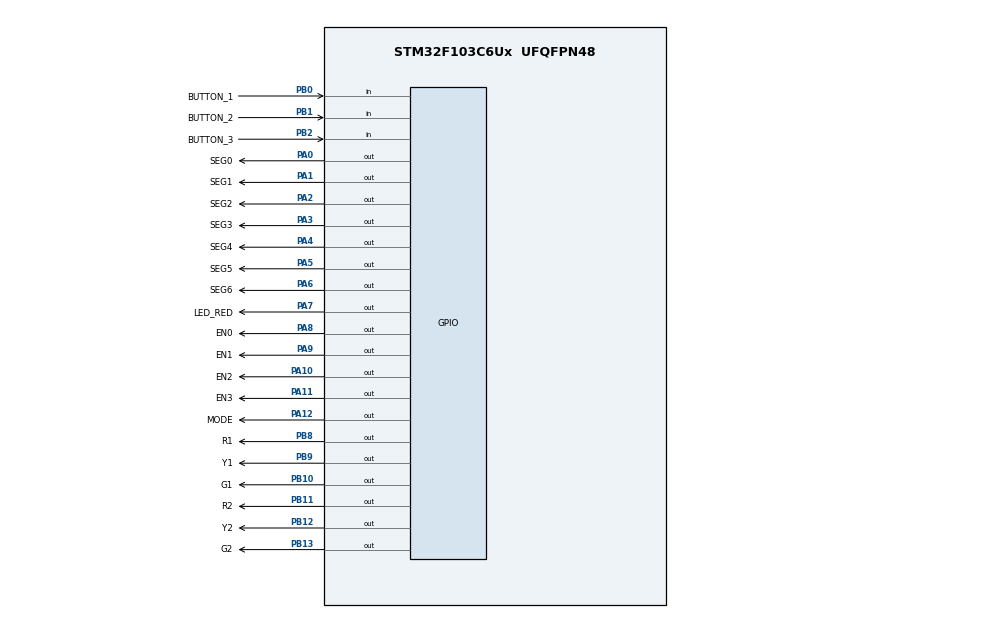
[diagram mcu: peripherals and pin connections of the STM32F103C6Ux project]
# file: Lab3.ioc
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Mcu.Family=STM32F1
Mcu.Name=STM32F103C6Ux
Mcu.Package=UFQFPN48
NVIC.PriorityGroup=NVIC_PRIORITYGROUP_4
NVIC.TIM2_IRQn=true\:0\:0\:false\:false\:true\:true\:true
PA0-WKUP.GPIO_Label=SEG0
PA0-WKUP.Signal=GPIO_Output
PA1.GPIO_Label=SEG1
PA1.Signal=GPIO_Output
PA10.GPIO_Label=EN2
PA10.Signal=GPIO_Output
PA11.GPIO_Label=EN3
PA11.Signal=GPIO_Output
PA12.GPIO_Label=MODE
PA12.Signal=GPIO_Output
PA2.GPIO_Label=SEG2
PA2.Signal=GPIO_Output
PA3.GPIO_Label=SEG3
PA3.Signal=GPIO_Output
PA4.GPIO_Label=SEG4
PA4.Signal=GPIO_Output
PA5.GPIO_Label=SEG5
PA5.Signal=GPIO_Output
PA6.GPIO_Label=SEG6
PA6.Signal=GPIO_Output
PA7.GPIO_Label=LED_RED
PA7.Signal=GPIO_Output
PA8.GPIO_Label=EN0
PA8.Signal=GPIO_Output
PA9.GPIO_Label=EN1
PA9.Signal=GPIO_Output
PB0.GPIO_Label=BUTTON_1
PB0.GPIO_PuPd=GPIO_PULLUP
PB0.Signal=GPIO_Input
PB1.GPIO_Label=BUTTON_2
PB1.GPIO_PuPd=GPIO_PULLUP
PB1.Signal=GPIO_Input
PB10.GPIO_Label=G1
PB10.Signal=GPIO_Output
PB11.GPIO_Label=R2
PB11.Signal=GPIO_Output
PB12.GPIO_Label=Y2
PB12.Signal=GPIO_Output
PB13.GPIO_Label=G2
PB13.Signal=GPIO_Output
PB2.GPIO_Label=BUTTON_3
PB2.GPIO_PuPd=GPIO_PULLUP
PB2.Signal=GPIO_Input
PB8.GPIO_Label=R1
PB8.Signal=GPIO_Output
PB9.GPIO_Label=Y1
PB9.Signal=GPIO_Output
ProjectManager.HeapSize=0x200
ProjectManager.StackSize=0x400
ProjectManager.TargetToolchain=STM32CubeIDE
RCC.APB1Freq_Value=8000000
RCC.APB2Freq_Value=8000000
TIM2.Prescaler=7999
VP_SYS_VS_ND.Mode=No_Debug
VP_TIM2_VS_ClockSourceINT.Mode=Internal
board=custom

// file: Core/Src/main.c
/* USER CODE BEGIN Header */
/**
  ******************************************************************************
  * @file           : main.c
  * @brief          : Main program body
  ******************************************************************************
  * @attention
  *
  * <h2><center>&copy; Copyright (c) 2023 STMicroelectronics.
  * All rights reserved.</center></h2>
  *
  * This software component is licensed by ST under BSD 3-Clause license,
  * the "License"; You may not use this file except in compliance with the
  * License. You may obtain a copy of the License at:
  *                        opensource.org/licenses/BSD-3-Clause
  *
  ******************************************************************************
  */
/* USER CODE END Header */
#include "main.h"

/* USER CODE BEGIN Includes */
#include "processing.h"
#include "led_display.h"
#include "input_reading.h"
#include "timer.h"
/* USER CODE END Includes */

TIM_HandleTypeDef htim2;

void SystemClock_Config(void);
static void MX_GPIO_Init(void);
static void MX_TIM2_Init(void);

int main(void)
{

  /* MCU Configuration--------------------------------------------------------*/

  /* Reset of all peripherals, Initializes the Flash interface and the Systick. */
  HAL_Init();

  /* Configure the system clock */
  SystemClock_Config();

  /* Initialize all configured peripherals */
  MX_GPIO_Init();
  MX_TIM2_Init();
  /* USER CODE BEGIN 2 */
  HAL_TIM_Base_Start_IT(&htim2);
  /* USER CODE END 2 */

  /* Infinite loop */
  /* USER CODE BEGIN WHILE */
  init_buffer();
  LedTimeDurationInit();
  setTimer0(10);
  setTimer1(10);
  setTimer2(10);
  setTimer3(10);
  while (1)
  {
	  UpdateMode();
		  if (get_timer2_flag()) {
			  LEDScanning();
			  setTimer2(1);
		  }

		  LedDispMode();
		  UpdateDurationValue();

		  if (get_timer1_flag()) {
			  HAL_GPIO_TogglePin(LED_RED_GPIO_Port, LED_RED_Pin);
			  setTimer1(500);
		  }

    /* USER CODE END WHILE */

  }
}

void SystemClock_Config(void)
{
  RCC_OscInitTypeDef RCC_OscInitStruct = {0};
  RCC_ClkInitTypeDef RCC_ClkInitStruct = {0};

  /** Initializes the RCC Oscillators according to the specified parameters
  * in the RCC_OscInitTypeDef structure.
  */
  RCC_OscInitStruct.OscillatorType = RCC_OSCILLATORTYPE_HSI;
  RCC_OscInitStruct.HSIState = RCC_HSI_ON;
  RCC_OscInitStruct.HSICalibrationValue = RCC_HSICALIBRATION_DEFAULT;
  RCC_OscInitStruct.PLL.PLLState = RCC_PLL_NONE;
  if (HAL_RCC_OscConfig(&RCC_OscInitStruct) != HAL_OK)
  {
    Error_Handler();
  }
  /** Initializes the CPU, AHB and APB buses clocks
  */
  RCC_ClkInitStruct.ClockType = RCC_CLOCKTYPE_HCLK|RCC_CLOCKTYPE_SYSCLK
                              |RCC_CLOCKTYPE_PCLK1|RCC_CLOCKTYPE_PCLK2;
  RCC_ClkInitStruct.SYSCLKSource = RCC_SYSCLKSOURCE_HSI;
  RCC_ClkInitStruct.AHBCLKDivider = RCC_SYSCLK_DIV1;
  RCC_ClkInitStruct.APB1CLKDivider = RCC_HCLK_DIV1;
  RCC_ClkInitStruct.APB2CLKDivider = RCC_HCLK_DIV1;

  if (HAL_RCC_ClockConfig(&RCC_ClkInitStruct, FLASH_LATENCY_0) != HAL_OK)
  {
    Error_Handler();
  }
}

static void MX_TIM2_Init(void)
{

  TIM_ClockConfigTypeDef sClockSourceConfig = {0};
  TIM_MasterConfigTypeDef sMasterConfig = {0};

  htim2.Instance = TIM2;
  htim2.Init.Prescaler = 7999;
  htim2.Init.CounterMode = TIM_COUNTERMODE_UP;
  htim2.Init.Period = 65535;
  htim2.Init.ClockDivision = TIM_CLOCKDIVISION_DIV1;
  htim2.Init.AutoReloadPreload = TIM_AUTORELOAD_PRELOAD_DISABLE;
  if (HAL_TIM_Base_Init(&htim2) != HAL_OK)
  {
    Error_Handler();
  }
  sClockSourceConfig.ClockSource = TIM_CLOCKSOURCE_INTERNAL;
  if (HAL_TIM_ConfigClockSource(&htim2, &sClockSourceConfig) != HAL_OK)
  {
    Error_Handler();
  }
  sMasterConfig.MasterOutputTrigger = TIM_TRGO_RESET;
  sMasterConfig.MasterSlaveMode = TIM_MASTERSLAVEMODE_DISABLE;
  if (HAL_TIMEx_MasterConfigSynchronization(&htim2, &sMasterConfig) != HAL_OK)
  {
    Error_Handler();
  }

}

static void MX_GPIO_Init(void)
{
  GPIO_InitTypeDef GPIO_InitStruct = {0};

  /* GPIO Ports Clock Enable */
  __HAL_RCC_GPIOA_CLK_ENABLE();
  __HAL_RCC_GPIOB_CLK_ENABLE();

  /*Configure GPIO pin Output Level */
  HAL_GPIO_WritePin(GPIOA, SEG0_Pin|SEG1_Pin|SEG2_Pin|SEG3_Pin
                          |SEG4_Pin|SEG5_Pin|SEG6_Pin|LED_RED_Pin
                          |EN0_Pin|EN1_Pin|EN2_Pin|EN3_Pin
                          |MODE_Pin, GPIO_PIN_RESET);

  /*Configure GPIO pin Output Level */
  HAL_GPIO_WritePin(GPIOB, G1_Pin|R2_Pin|Y2_Pin|G2_Pin
                          |R1_Pin|Y1_Pin, GPIO_PIN_RESET);

  /*Configure GPIO pins : SEG0_Pin SEG1_Pin SEG2_Pin SEG3_Pin
                           SEG4_Pin SEG5_Pin SEG6_Pin LED_RED_Pin
                           EN0_Pin EN1_Pin EN2_Pin EN3_Pin
                           MODE_Pin */
  GPIO_InitStruct.Pin = SEG0_Pin|SEG1_Pin|SEG2_Pin|SEG3_Pin
                          |SEG4_Pin|SEG5_Pin|SEG6_Pin|LED_RED_Pin
                          |EN0_Pin|EN1_Pin|EN2_Pin|EN3_Pin
                          |MODE_Pin;
  GPIO_InitStruct.Mode = GPIO_MODE_OUTPUT_PP;
  GPIO_InitStruct.Pull = GPIO_NOPULL;
  GPIO_InitStruct.Speed = GPIO_SPEED_FREQ_LOW;
  HAL_GPIO_Init(GPIOA, &GPIO_InitStruct);

  /*Configure GPIO pins : BUTTON_1_Pin BUTTON_2_Pin BUTTON_3_Pin */
  GPIO_InitStruct.Pin = BUTTON_1_Pin|BUTTON_2_Pin|BUTTON_3_Pin;
  GPIO_InitStruct.Mode = GPIO_MODE_INPUT;
  GPIO_InitStruct.Pull = GPIO_PULLUP;
  HAL_GPIO_Init(GPIOB, &GPIO_InitStruct);

  /*Configure GPIO pins : G1_Pin R2_Pin Y2_Pin G2_Pin
                           R1_Pin Y1_Pin */
  GPIO_InitStruct.Pin = G1_Pin|R2_Pin|Y2_Pin|G2_Pin
                          |R1_Pin|Y1_Pin;
  GPIO_InitStruct.Mode = GPIO_MODE_OUTPUT_PP;
  GPIO_InitStruct.Pull = GPIO_NOPULL;
  GPIO_InitStruct.Speed = GPIO_SPEED_FREQ_LOW;
  HAL_GPIO_Init(GPIOB, &GPIO_InitStruct);

}

void Error_Handler(void)
{
  __disable_irq();
  while (1)
  {
  }
}

/************************ (C) COPYRIGHT STMicroelectronics *****END OF FILE****/
